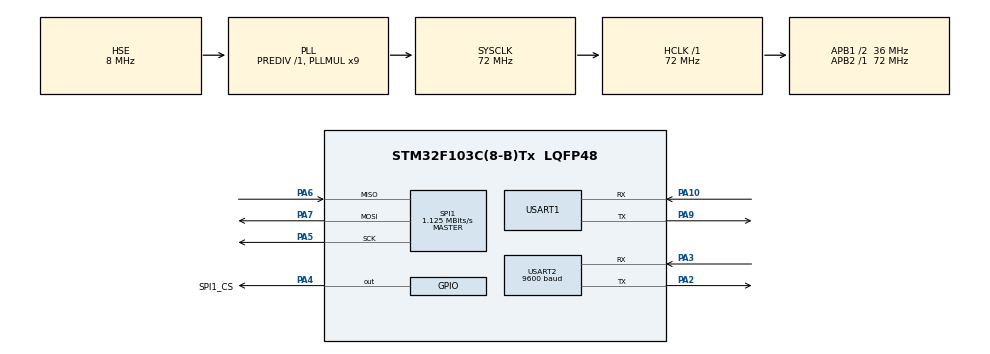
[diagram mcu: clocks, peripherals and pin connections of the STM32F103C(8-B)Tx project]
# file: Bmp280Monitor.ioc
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ADC1.Channel-0\#ChannelRegularConversion=ADC_CHANNEL_TEMPSENSOR
ADC1.NbrOfConversion=1
ADC1.NbrOfConversionFlag=1
ADC1.Rank-0\#ChannelRegularConversion=1
ADC1.SamplingTime-0\#ChannelRegularConversion=ADC_SAMPLETIME_239CYCLES_5
ADC1.master=1
Dma.Request0=USART1_RX
Dma.Request1=USART1_TX
Dma.Request2=USART2_RX
Dma.Request3=USART2_TX
Dma.USART1_RX.0.Direction=DMA_PERIPH_TO_MEMORY
Dma.USART1_RX.0.Instance=DMA1_Channel5
Dma.USART1_RX.0.MemDataAlignment=DMA_MDATAALIGN_BYTE
Dma.USART1_RX.0.MemInc=DMA_MINC_ENABLE
Dma.USART1_RX.0.Mode=DMA_NORMAL
Dma.USART1_RX.0.PeriphDataAlignment=DMA_PDATAALIGN_BYTE
Dma.USART1_RX.0.PeriphInc=DMA_PINC_DISABLE
Dma.USART1_RX.0.Priority=DMA_PRIORITY_LOW
Dma.USART1_TX.1.Direction=DMA_MEMORY_TO_PERIPH
Dma.USART1_TX.1.Instance=DMA1_Channel4
Dma.USART1_TX.1.MemDataAlignment=DMA_MDATAALIGN_BYTE
Dma.USART1_TX.1.MemInc=DMA_MINC_ENABLE
Dma.USART1_TX.1.Mode=DMA_NORMAL
Dma.USART1_TX.1.PeriphDataAlignment=DMA_PDATAALIGN_BYTE
Dma.USART1_TX.1.PeriphInc=DMA_PINC_DISABLE
Dma.USART1_TX.1.Priority=DMA_PRIORITY_LOW
Dma.USART2_RX.2.Direction=DMA_PERIPH_TO_MEMORY
Dma.USART2_RX.2.Instance=DMA1_Channel6
Dma.USART2_RX.2.MemDataAlignment=DMA_MDATAALIGN_BYTE
Dma.USART2_RX.2.MemInc=DMA_MINC_ENABLE
Dma.USART2_RX.2.Mode=DMA_NORMAL
Dma.USART2_RX.2.PeriphDataAlignment=DMA_PDATAALIGN_BYTE
Dma.USART2_RX.2.PeriphInc=DMA_PINC_DISABLE
Dma.USART2_RX.2.Priority=DMA_PRIORITY_LOW
Dma.USART2_TX.3.Direction=DMA_MEMORY_TO_PERIPH
Dma.USART2_TX.3.Instance=DMA1_Channel7
Dma.USART2_TX.3.MemDataAlignment=DMA_MDATAALIGN_BYTE
Dma.USART2_TX.3.MemInc=DMA_MINC_ENABLE
Dma.USART2_TX.3.Mode=DMA_NORMAL
Dma.USART2_TX.3.PeriphDataAlignment=DMA_PDATAALIGN_BYTE
Dma.USART2_TX.3.PeriphInc=DMA_PINC_DISABLE
Dma.USART2_TX.3.Priority=DMA_PRIORITY_LOW
FREERTOS.BinarySemaphores01=semaphore,Dynamic,NULL
FREERTOS.Mutexes01=mutex,Dynamic,NULL
FREERTOS.Tasks01=bmp280Monitor,0,256,taskBmp280Monitor,As weak,NULL,Dynamic,NULL,NULL;bluetooth,0,256,taskBluetooth,As weak,NULL,Dynamic,NULL,NULL
Mcu.Family=STM32F1
Mcu.Name=STM32F103C(8-B)Tx
Mcu.Package=LQFP48
NVIC.ADC1_2_IRQn=true\:5\:0\:false\:false\:true\:true\:true\:true
NVIC.DMA1_Channel4_IRQn=true\:5\:0\:false\:false\:true\:true\:false\:true
NVIC.DMA1_Channel5_IRQn=true\:5\:0\:false\:false\:true\:true\:false\:true
NVIC.DMA1_Channel6_IRQn=true\:5\:0\:false\:false\:true\:true\:false\:true
NVIC.DMA1_Channel7_IRQn=true\:5\:0\:false\:false\:true\:true\:false\:true
NVIC.PriorityGroup=NVIC_PRIORITYGROUP_4
NVIC.TIM1_UP_IRQn=true\:0\:0\:false\:false\:true\:false\:false\:true
NVIC.TimeBase=TIM1_UP_IRQn
NVIC.TimeBaseIP=TIM1
NVIC.USART1_IRQn=true\:5\:0\:false\:false\:true\:true\:true\:true
NVIC.USART2_IRQn=true\:5\:0\:false\:false\:true\:true\:true\:true
PA10.Mode=Asynchronous
PA10.Signal=USART1_RX
PA13.Mode=Trace_Asynchronous_SW
PA13.Signal=SYS_JTMS-SWDIO
PA14.Mode=Trace_Asynchronous_SW
PA14.Signal=SYS_JTCK-SWCLK
PA2.Mode=Asynchronous
PA2.Signal=USART2_TX
PA3.Mode=Asynchronous
PA3.Signal=USART2_RX
PA4.GPIO_Label=SPI1_CS
PA4.Signal=GPIO_Output
PA5.Mode=Full_Duplex_Master
PA5.Signal=SPI1_SCK
PA6.Mode=Full_Duplex_Master
PA6.Signal=SPI1_MISO
PA7.Mode=Full_Duplex_Master
PA7.Signal=SPI1_MOSI
PA9.Mode=Asynchronous
PA9.Signal=USART1_TX
PB3.Mode=Trace_Asynchronous_SW
PB3.Signal=SYS_JTDO-TRACESWO
PD0-OSC_IN.Mode=HSE-External-Oscillator
PD0-OSC_IN.Signal=RCC_OSC_IN
PD1-OSC_OUT.Mode=HSE-External-Oscillator
PD1-OSC_OUT.Signal=RCC_OSC_OUT
ProjectManager.HeapSize=0x200
ProjectManager.StackSize=0x400
ProjectManager.TargetToolchain=STM32CubeIDE
RCC.ADCPresc=RCC_ADCPCLK2_DIV6
RCC.AHBFreq_Value=72000000
RCC.APB1CLKDivider=RCC_HCLK_DIV2
RCC.APB1Freq_Value=36000000
RCC.APB1TimFreq_Value=72000000
RCC.APB2Freq_Value=72000000
RCC.APB2TimFreq_Value=72000000
RCC.HCLKFreq_Value=72000000
RCC.PLLMUL=RCC_PLL_MUL9
RCC.PLLSourceVirtual=RCC_PLLSOURCE_HSE
RCC.SYSCLKFreq_VALUE=72000000
RCC.SYSCLKSource=RCC_SYSCLKSOURCE_PLLCLK
RCC.USBFreq_Value=72000000
SPI1.BaudRatePrescaler=SPI_BAUDRATEPRESCALER_64
SPI1.CalculateBaudRate=1.125 MBits/s
SPI1.Direction=SPI_DIRECTION_2LINES
SPI1.Mode=SPI_MODE_MASTER
SPI1.VirtualType=VM_MASTER
USART1.VirtualMode=VM_ASYNC
USART2.BaudRate=9600
USART2.VirtualMode=VM_ASYNC
VP_ADC1_TempSens_Input.Mode=IN-TempSens
VP_FREERTOS_VS_CMSIS_V1.Mode=CMSIS_V1
VP_SYS_VS_tim1.Mode=TIM1
board=custom

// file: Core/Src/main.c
/* USER CODE BEGIN Header */
/**
  ******************************************************************************
  * @file           : main.c
  * @brief          : Main program body
  ******************************************************************************
  * @attention
  *
  * <h2><center>&copy; Copyright (c) 2021 STMicroelectronics.
  * All rights reserved.</center></h2>
  *
  * This software component is licensed by ST under BSD 3-Clause license,
  * the "License"; You may not use this file except in compliance with the
  * License. You may obtain a copy of the License at:
  *                        opensource.org/licenses/BSD-3-Clause
  *
  ******************************************************************************
  */
/* USER CODE END Header */

#include "main.h"
#include "cmsis_os.h"
#include "adc.h"
#include "dma.h"
#include "spi.h"
#include "usart.h"
#include "gpio.h"

void SystemClock_Config(void);
void MX_FREERTOS_Init(void);

int main(void)
{

  /* MCU Configuration--------------------------------------------------------*/

  /* Reset of all peripherals, Initializes the Flash interface and the Systick. */
  HAL_Init();

  /* Configure the system clock */
  SystemClock_Config();

  /* Initialize all configured peripherals */
  MX_GPIO_Init();
  MX_DMA_Init();
  MX_SPI1_Init();
  MX_USART1_UART_Init();
  MX_ADC1_Init();
  MX_USART2_UART_Init();
  /* USER CODE BEGIN 2 */
  uartInitInfo();
  /* USER CODE END 2 */

  /* Call init function for freertos objects (in freertos.c) */
  MX_FREERTOS_Init();
  /* Start scheduler */
  osKernelStart();

  /* We should never get here as control is now taken by the scheduler */
  /* Infinite loop */
  while (1)
  {

  }
}

void SystemClock_Config(void)
{
  RCC_OscInitTypeDef RCC_OscInitStruct = {0};
  RCC_ClkInitTypeDef RCC_ClkInitStruct = {0};
  RCC_PeriphCLKInitTypeDef PeriphClkInit = {0};

  /** Initializes the CPU, AHB and APB busses clocks
  */
  RCC_OscInitStruct.OscillatorType = RCC_OSCILLATORTYPE_HSE;
  RCC_OscInitStruct.HSEState = RCC_HSE_ON;
  RCC_OscInitStruct.HSEPredivValue = RCC_HSE_PREDIV_DIV1;
  RCC_OscInitStruct.HSIState = RCC_HSI_ON;
  RCC_OscInitStruct.PLL.PLLState = RCC_PLL_ON;
  RCC_OscInitStruct.PLL.PLLSource = RCC_PLLSOURCE_HSE;
  RCC_OscInitStruct.PLL.PLLMUL = RCC_PLL_MUL9;
  if (HAL_RCC_OscConfig(&RCC_OscInitStruct) != HAL_OK)
  {
    Error_Handler();
  }
  /** Initializes the CPU, AHB and APB busses clocks
  */
  RCC_ClkInitStruct.ClockType = RCC_CLOCKTYPE_HCLK|RCC_CLOCKTYPE_SYSCLK
                              |RCC_CLOCKTYPE_PCLK1|RCC_CLOCKTYPE_PCLK2;
  RCC_ClkInitStruct.SYSCLKSource = RCC_SYSCLKSOURCE_PLLCLK;
  RCC_ClkInitStruct.AHBCLKDivider = RCC_SYSCLK_DIV1;
  RCC_ClkInitStruct.APB1CLKDivider = RCC_HCLK_DIV2;
  RCC_ClkInitStruct.APB2CLKDivider = RCC_HCLK_DIV1;

  if (HAL_RCC_ClockConfig(&RCC_ClkInitStruct, FLASH_LATENCY_2) != HAL_OK)
  {
    Error_Handler();
  }
  PeriphClkInit.PeriphClockSelection = RCC_PERIPHCLK_ADC;
  PeriphClkInit.AdcClockSelection = RCC_ADCPCLK2_DIV6;
  if (HAL_RCCEx_PeriphCLKConfig(&PeriphClkInit) != HAL_OK)
  {
    Error_Handler();
  }
}

/* USER CODE BEGIN 4 */
u8 waitTx(char* waitStr, IrqFlags* pFlags, u16 pause, u16 timeout){
	u16 tout = 0;
	while(!pFlags->isIrqTx && tout < timeout){
		osDelay(pause);
		tout += pause;
		if(strlen(waitStr) > 1)
			D(printf("%s timeout: %d\r\n", waitStr, tout));
	}
  return pFlags->isIrqTx;
}

u8 waitRx(char* waitStr, IrqFlags* pFlags, u16 pause, u16 timeout){
	u16 tout = 0;
	while(!(pFlags->isIrqRx) && tout < timeout){
		osDelay(pause);
		tout += pause;
		if(strlen(waitStr) > 1)
			D(printf("%s timeout: %d\r\n", waitStr, tout));
	}
  return pFlags->isIrqRx;
}

u8 waitIdle(char* waitStr, IrqFlags* pFlags, u16 pause, u16 timeout){
	u16 tout = 0;
	while(!(pFlags->isIrqIdle) && tout < timeout){
		osDelay(pause);
		tout += pause;
		if(strlen(waitStr) > 1)
			D(printf("%s timeout: %d\r\n", waitStr, tout));
	}
  return pFlags->isIrqIdle;
}

u8 waitIdleCnt(char* waitStr, IrqFlags* pFlags, u8 cnt, u16 pause, u16 timeout){
	u16 tout = 0;
	while((pFlags->isIrqIdle) < cnt && tout < timeout){
		osDelay(pause);
		tout += pause;
		if(strlen(waitStr) > 1)
			D(printf("%s timeout: %d\r\n", waitStr, tout));
	}
  return pFlags->isIrqIdle;
}
/* USER CODE END 4 */

 /**
  * @brief  Period elapsed callback in non blocking mode
  * @note   This function is called  when TIM1 interrupt took place, inside
  * HAL_TIM_IRQHandler(). It makes a direct call to HAL_IncTick() to increment
  * a global variable "uwTick" used as application time base.
  * @param  htim : TIM handle
  * @retval None
  */
void HAL_TIM_PeriodElapsedCallback(TIM_HandleTypeDef *htim)
{
  if (htim->Instance == TIM1) {
    HAL_IncTick();
  }
}

void Error_Handler(void)
{
}

/************************ (C) COPYRIGHT STMicroelectronics *****END OF FILE****/

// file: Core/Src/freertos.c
/* USER CODE BEGIN Header */
/**
  ******************************************************************************
  * File Name          : freertos.c
  * Description        : Code for freertos applications
  ******************************************************************************
  * @attention
  *
  * <h2><center>&copy; Copyright (c) 2021 STMicroelectronics.
  * All rights reserved.</center></h2>
  *
  * This software component is licensed by ST under Ultimate Liberty license
  * SLA0044, the "License"; You may not use this file except in compliance with
  * the License. You may obtain a copy of the License at:
  *                             www.st.com/SLA0044
  *
  ******************************************************************************
  */
/* USER CODE END Header */

#include "FreeRTOS.h"
#include "task.h"
#include "main.h"
#include "cmsis_os.h"

osThreadId bmp280MonitorHandle;
osThreadId bluetoothHandle;
osMutexId mutexHandle;
osSemaphoreId semaphoreHandle;

void taskBmp280Monitor(void const * argument);
void taskBluetooth(void const * argument);

void MX_FREERTOS_Init(void); /* (MISRA C 2004 rule 8.1) */

/* GetIdleTaskMemory prototype (linked to static allocation support) */
void vApplicationGetIdleTaskMemory( StaticTask_t **ppxIdleTaskTCBBuffer, StackType_t **ppxIdleTaskStackBuffer, uint32_t *pulIdleTaskStackSize );

/* USER CODE BEGIN GET_IDLE_TASK_MEMORY */
static StaticTask_t xIdleTaskTCBBuffer;
static StackType_t xIdleStack[configMINIMAL_STACK_SIZE];

void vApplicationGetIdleTaskMemory( StaticTask_t **ppxIdleTaskTCBBuffer, StackType_t **ppxIdleTaskStackBuffer, uint32_t *pulIdleTaskStackSize )
{
  *ppxIdleTaskTCBBuffer = &xIdleTaskTCBBuffer;
  *ppxIdleTaskStackBuffer = &xIdleStack[0];
  *pulIdleTaskStackSize = configMINIMAL_STACK_SIZE;
  /* place for user code */
}
/* USER CODE END GET_IDLE_TASK_MEMORY */

void MX_FREERTOS_Init(void) {
  /* Create the mutex(es) */
  /* definition and creation of mutex */
  osMutexDef(mutex);
  mutexHandle = osMutexCreate(osMutex(mutex));

  /* Create the semaphores(s) */
  /* definition and creation of semaphore */
  osSemaphoreDef(semaphore);
  semaphoreHandle = osSemaphoreCreate(osSemaphore(semaphore), 1);

  /* Create the thread(s) */
  /* definition and creation of bmp280Monitor */
  osThreadDef(bmp280Monitor, taskBmp280Monitor, osPriorityNormal, 0, 256);
  bmp280MonitorHandle = osThreadCreate(osThread(bmp280Monitor), NULL);

  /* definition and creation of bluetooth */
  osThreadDef(bluetooth, taskBluetooth, osPriorityNormal, 0, 256);
  bluetoothHandle = osThreadCreate(osThread(bluetooth), NULL);

}

__weak void taskBmp280Monitor(void const * argument)
{
  for(;;)
  {
    osDelay(1);
  }
}

__weak void taskBluetooth(void const * argument)
{
  for(;;)
  {
    osDelay(1);
  }
}

/************************ (C) COPYRIGHT STMicroelectronics *****END OF FILE****/
